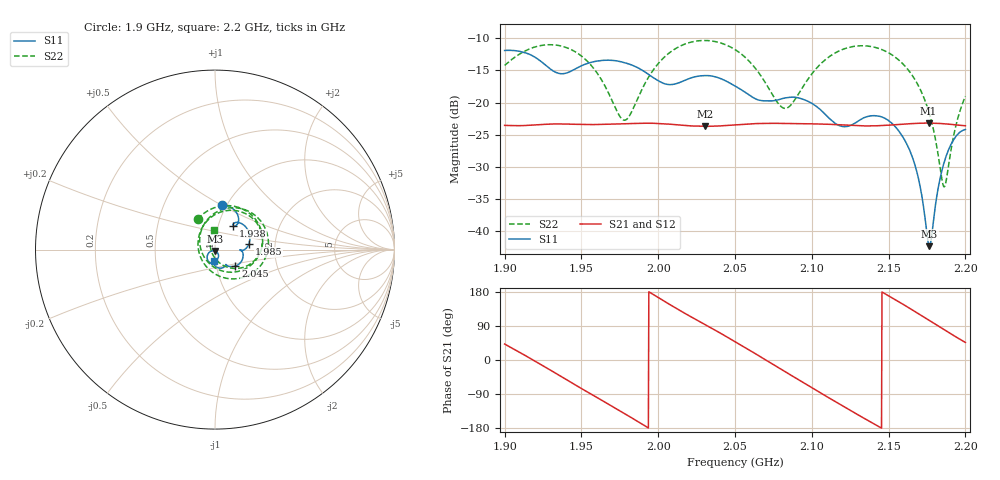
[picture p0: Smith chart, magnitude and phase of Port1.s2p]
# Hz S RI R 50
! CMT, CMT808U, 21440046, 21.4.3/4
! Date: 3/28/2026 4:54:47 PM
! Data: Format (Calibration Info)
! Freq	S11:Re/Im(F2)	S41:Re/Im(F2)	S14:Re/Im(F2)	S44:Re/Im(F2)
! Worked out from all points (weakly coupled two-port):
!   1001 points, 1.9 GHz to 2.2 GHz, reference 50 ohm
!   highest |S21| = -23.20 dB at 2.176 GHz (marker M1); lowest = -23.7 dB at 2.03 GHz (marker M2)
!   lowest |S11| = -42.4 dB at 2.177 GHz (marker M3), VSWR 1.02, Z = 49.8 - j0.737 ohm
!   |S11| at or under -10 dB: start of sweep to end of sweep
!   |S22| runs from -33.1 to -10.3 dB; largest |S21 - S12| = 0.00044
!   S11 on the Smith chart (normalised r, x): 1.9 GHz: 0.95, +0.51; 1.938 GHz: 1.18, +0.32; 1.985 GHz: 1.46, +0.10; 2.045 GHz: 1.23, -0.23; 2.2 GHz: 0.98, -0.12
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1.9e9  0.0398 0.2509  0.0492 0.0445  0.0489 0.0447  -0.097 0.1686
1.9177e9  0.1252 0.1961  0.0666 0.00247  0.0664 0.00278  0.1139 0.2398
1.9381e9  0.1013 0.1336  0.0465 -0.0497  0.0466 -0.0494  0.2655 0.0621
1.9501e9  0.1199 0.1516  0.0168 -0.0653  0.0171 -0.0651  0.2192 -0.0685
1.9762e9  0.1943 0.0713  -0.0497 -0.0466  -0.0494 -0.0467  -0.0521 -0.0535
1.9846e9  0.189 0.0317  -0.0633 -0.0267  -0.063 -0.0269  -0.0853 0.0413
2.0002e9  0.147 -0.00549  -0.0662 0.0185  -0.0661 0.0181  -0.00331 0.202
2.0143e9  0.1436 -0.00199  -0.0432 0.0509  -0.0433 0.0506  0.1574 0.2253
2.0305e9  0.1541 -0.0502  -0.00384 0.0651  -0.00418 0.065  0.2878 0.0977
2.0446e9  0.1137 -0.0916  0.0317 0.0581  0.0314 0.0582  0.2724 -0.0621
2.05e9  0.095 -0.095  0.0442 0.0502  0.0439 0.0504  0.2328 -0.1119
2.0653e9  0.0627 -0.0836  0.0672 0.0138  0.067 0.0141  0.0627 -0.1595
2.0818e9  0.0551 -0.093  0.0602 -0.0331  0.0602 -0.0328  -0.0826 -0.0365
2.1001e9  0.00879 -0.098  0.0198 -0.0653  0.0201 -0.0651  -0.042 0.1621
2.1235e9  0.000998 -0.0653  -0.0422 -0.0514  -0.0419 -0.0516  0.1871 0.1909
2.1502e9  -0.0399 -0.0599  -0.0654 0.0128  -0.0654 0.0124  0.2403 -0.0353
2.1661e9  -0.0323 -0.0155  -0.0445 0.0522  -0.0448 0.0519  0.1178 -0.1052
2.176e9  -0.00371 -0.00697  -0.0186 0.0666  -0.0188 0.0664  0.0326 -0.0796
2.1766e9  -0.00182 -0.0074  -0.0167 0.0671  -0.0171 0.0669  0.0281 -0.0765
2.1862e9  0.0191 -0.0285  0.0122 0.0672  0.0118 0.0672  -0.0211 -0.00644
2.194e9  0.0121 -0.0535  0.0329 0.0583  0.0326 0.0584  -0.0249 0.0627
2.2e9  -0.00715 -0.0612  0.0455 0.0477  0.0452 0.0479  -0.00504 0.1119
